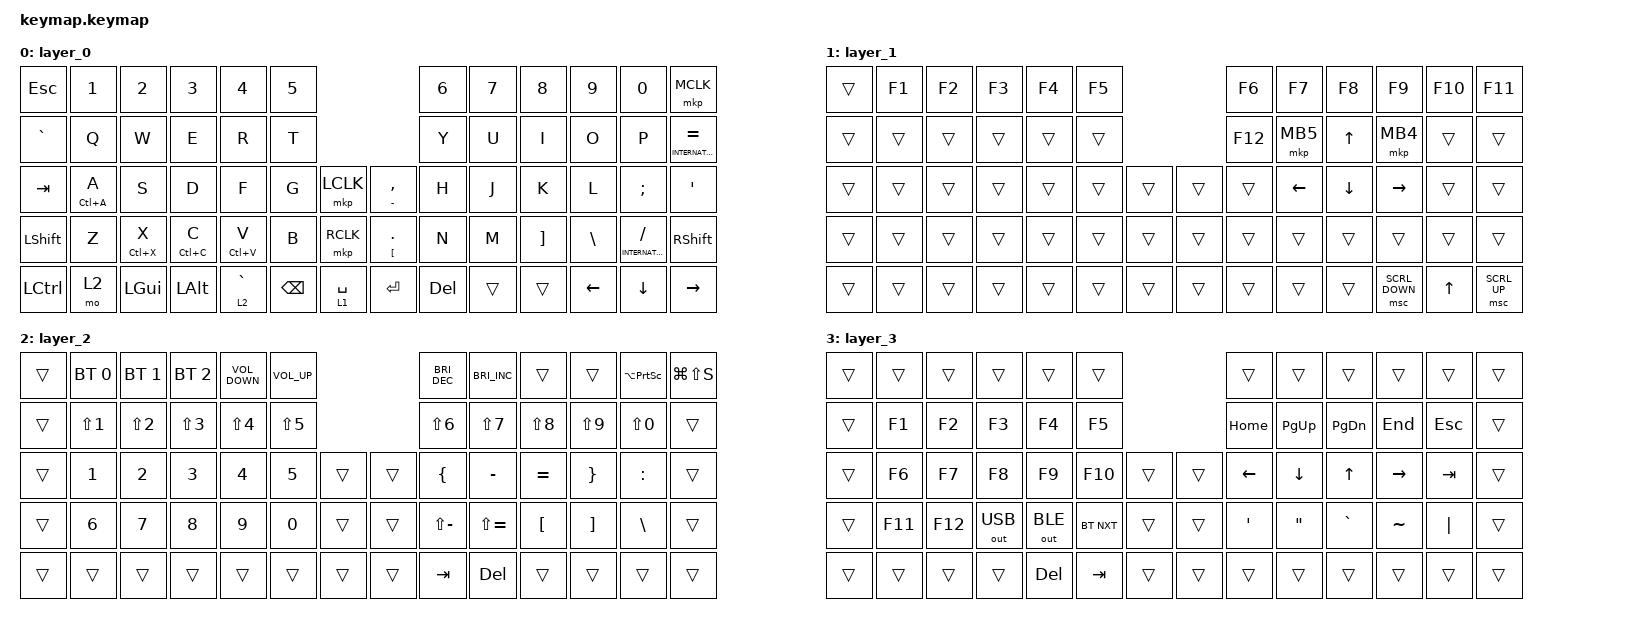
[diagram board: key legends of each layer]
#include <behaviors.dtsi>
#include <dt-bindings/zmk/bt.h>
#include <dt-bindings/zmk/keys.h>
#include <dt-bindings/zmk/outputs.h>
#include <dt-bindings/zmk/pointing.h>

/ {
    #define JP_PIPE         LS(0x89)
    #define JP_UNDERSCORE   LS(0x87)

    combos {
        compatible = "zmk,combos";

        R_LeftClick {
            bindings = <&mkp LCLK>;
            key-positions = <22 23>;
        };

        R_RightCklick {
            bindings = <&mkp RCLK>;
            key-positions = <36 37>;
        };

        LeftArrow {
            bindings = <&kp LEFT_ARROW>;
            key-positions = <33 34>;
        };

        RightArrow {
            bindings = <&kp RIGHT_ARROW>;
            key-positions = <34 35>;
        };

        UpperArrow {
            bindings = <&kp UP_ARROW>;
            key-positions = <34 20>;
        };

        DownArrow {
            bindings = <&kp DOWN_ARROW>;
            key-positions = <34 48>;
        };

        L_EJ {
            bindings = <&kp GRAVE>;
            key-positions = <13 14>;
        };
    };

    behaviors {
        custom_mt_tap: custom_mt_tap {
            compatible = "zmk,behavior-hold-tap";
            label = "CUSTOM_MT_TAP";
            bindings = <&kp>, <&kp>;

            #binding-cells = <2>;
            tapping-term-ms = <200>;
            flavor = "tap-preferred";
        };
    };

    keymap {
        compatible = "zmk,keymap";

        layer_0 {
            bindings = <
&kp ESC    &kp N1                  &kp N2                  &kp N3                  &kp N4                  &kp N5                                               &kp N6      &kp N7  &kp N8             &kp N9          &kp N0                     &mkp MCLK
&kp GRAVE  &kp Q                   &kp W                   &kp E                   &kp R                   &kp T                                                &kp Y       &kp U   &kp I              &kp O           &kp P                      &mt INTERNATIONAL_3 EQUAL
&kp TAB    &custom_mt_tap LC(A) A  &kp S                   &kp D                   &kp F                   &kp G          &mkp LCLK    &mt MINUS COMMA          &kp H       &kp J   &kp K              &kp L           &kp SEMI                   &kp SQT
&kp LSHFT  &kp Z                   &custom_mt_tap LC(X) X  &custom_mt_tap LC(C) C  &custom_mt_tap LC(V) V  &kp B          &mkp RCLK    &mt LEFT_BRACKET PERIOD  &kp N       &kp M   &kp RIGHT_BRACKET  &kp BACKSLASH   &mt INTERNATIONAL_1 SLASH  &kp RSHFT
&kp LCTRL  &mo 2                   &kp LEFT_GUI            &kp LEFT_ALT            &lt 2 GRAVE             &kp BACKSPACE  &lt 1 SPACE  &kp ENTER                &kp DELETE  &trans  &trans             &kp LEFT_ARROW  &kp DOWN                   &kp RIGHT_ARROW
            >;
        };

        layer_1 {
            bindings = <
&trans  &kp F1  &kp F2  &kp F3  &kp F4  &kp F5                  &kp F6   &kp F7          &kp F8          &kp F9           &kp F10       &kp F11
&trans  &trans  &trans  &trans  &trans  &trans                  &kp F12  &mkp MB5        &kp UP_ARROW    &mkp MB4         &trans        &trans
&trans  &trans  &trans  &trans  &trans  &trans  &trans  &trans  &trans   &kp LEFT_ARROW  &kp DOWN_ARROW  &kp RIGHT_ARROW  &trans        &trans
&trans  &trans  &trans  &trans  &trans  &trans  &trans  &trans  &trans   &trans          &trans          &trans           &trans        &trans
&trans  &trans  &trans  &trans  &trans  &trans  &trans  &trans  &trans   &trans          &trans          &msc SCRL_DOWN   &kp UP_ARROW  &msc SCRL_UP
            >;
        };

        layer_2 {
            bindings = <
&trans  &bt BT_SEL 0      &bt BT_SEL 1      &bt BT_SEL 2  &kp C_VOLUME_DOWN  &kp C_VOLUME_UP                  &kp C_BRIGHTNESS_DEC  &kp C_BRIGHTNESS_INC  &trans            &trans             &kp LA(PRINTSCREEN)  &kp LG(LS(S))
&trans  &kp LS(NUMBER_1)  &kp LS(NUMBER_2)  &kp LS(N3)    &kp LS(N4)         &kp LS(N5)                       &kp LS(N6)            &kp LS(N7)            &kp LS(N8)        &kp LS(N9)         &kp LS(N0)           &trans
&trans  &kp N1            &kp N2            &kp N3        &kp N4             &kp N5           &trans  &trans  &kp LEFT_BRACE        &kp MINUS             &kp EQUAL         &kp RIGHT_BRACE    &kp COLON            &trans
&trans  &kp N6            &kp N7            &kp N8        &kp N9             &kp N0           &trans  &trans  &kp LS(MINUS)         &kp LS(EQUAL)         &kp LEFT_BRACKET  &kp RIGHT_BRACKET  &kp BACKSLASH        &trans
&trans  &trans            &trans            &trans        &trans             &trans           &trans  &trans  &kp TAB               &kp DEL               &trans            &trans             &trans               &trans
            >;
        };

        layer_3 {
            bindings = <
&trans  &trans   &trans   &trans        &trans        &trans                      &trans            &trans     &trans         &trans     &trans      &trans
&trans  &kp F1   &kp F2   &kp F3        &kp F4        &kp F5                      &kp HOME          &kp PG_UP  &kp PAGE_DOWN  &kp END    &kp ESCAPE  &trans
&trans  &kp F6   &kp F7   &kp F8        &kp F9        &kp F10     &trans  &trans  &kp LEFT          &kp DOWN   &kp UP_ARROW   &kp RIGHT  &kp TAB     &trans
&trans  &kp F11  &kp F12  &out OUT_USB  &out OUT_BLE  &bt BT_NXT  &trans  &trans  &kp SINGLE_QUOTE  &kp DQT    &kp GRAVE      &kp TILDE  &kp PIPE    &trans
&trans  &trans   &trans   &trans        &kp DELETE    &kp TAB     &trans  &trans  &trans            &trans     &trans         &trans     &trans      &trans
            >;
        };
    };
};
